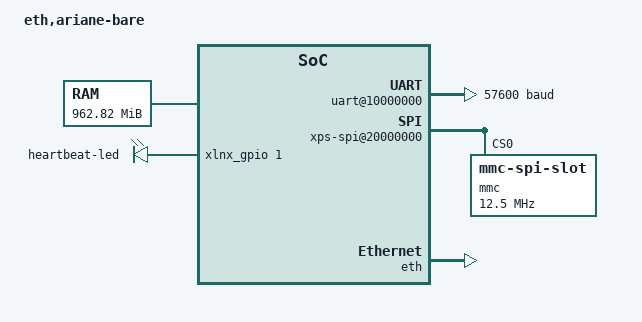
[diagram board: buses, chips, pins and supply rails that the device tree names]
/dts-v1/;

/ {
  #address-cells = <2>;
  #size-cells = <2>;
  compatible = "eth,ariane-bare-dev";
  model = "eth,ariane-bare";
  chosen {
    stdout-path = "/soc/uart@10000000:57600";
    bootargs = "earlycon console=ttyS0,57600 rdinit=/init sublet.dom_binfmt=1";
  };
  cpus {
    #address-cells = <1>;
    #size-cells = <0>;
    timebase-frequency = <12500000>;
    CPU0: cpu@0 {
      clock-frequency = <25000000 >;
      device_type = "cpu";
      reg = <0>;
      status = "okay";
      compatible = "eth, ariane", "riscv";
      riscv,isa = "rv64imafdc";
      mmu-type = "riscv,sv39";
      tlb-split;
      // HLIC - hart local interrupt controller
      CPU0_intc: interrupt-controller {
        #interrupt-cells = <1>;
        interrupt-controller;
        compatible = "riscv,cpu-intc";
      };
    };
  };
  memory@80000000 {
    device_type = "memory";
    /* Usable DRAM must stop BELOW the RTL's shadow-tag region, or Linux hands out tag memory
       as ordinary RAM and dies in early init (observed 2026-08-05: boot stalls just after
       "riscv-intc: 64 local interrupts mapped", reproducibly, on both boots).
       The top comes from core/include/ariane_pkg.sv MEMORY_TOP == CAP_TAG_MEM_BASE:
         7aac52f93  (1021-node)  CAP_TAG_MEM_BASE = 0xBC3C_0000  -> size 0x3C3C0000
         458982093  (65536-node) CAP_TAG_MEM_BASE = 0xBC2D_2D2D  -> size 0x3C2D2000
       0x3C2D2000 is the exact 0x3C2D2D2D rounded DOWN to a 4 KiB page. The tag region that
       remains (0x3C2D2D3 bytes, up to CAP_REVNODE_MEM_BASE = 0xBFF0_0000) still covers
       size/16 = 0x3C2D200, as the hardware requires (tag_addr = CAP_TAG_MEM_BASE + paddr>>4).
       RE-DERIVE THIS FROM THE RTL AFTER ANY RE-FLASH -- the pool size moves both constants,
       and calculate_memory.py prints the pair to paste. */
    reg = <0x0 0x80000000 0x0 0x3c2d2000>;
  };

  /* CMA, so a capability region can exceed the buddy allocator's largest block (MAX_ORDER 10 x
     4 KiB = 4 MiB). Proven on QEMU 2026-09-11: 8 MiB fails to CREATE without an area and succeeds
     with one, and a 130 MiB region maps and round-trips its first and last byte.
     THREE PROPERTIES HERE ARE LOAD-BEARING:
       linux,cma-default  -- modcapstone registers its device with platform_device_register_simple
                             and no DT node, so dev->cma_area is never set and dma_alloc_contiguous
                             falls through to dma_contiguous_default_area. ONLY a node carrying this
                             property sets that. Without it the area exists and nothing can reach it.
       reusable           -- required; kernel/dma/contiguous.c rejects the node without it, and
                             it is what lets movable pages use the area while no region holds it.
       no `no-map`        -- its presence is rejected outright.
     THE AREA SITS INSIDE memory@80000000 AND DOES NOT EXTEND IT. There are only 3373 bytes of slack
     between that node's top and the RTL's CAP_TAG_MEM_BASE (0xBC2D2D2D); growing the memory node is
     what handed Linux tag memory as RAM in Aug 2026 and cost two boots.
       base 0xAC000000, size 0x10000000 (256 MiB), ending at 0xBC000000 -- 4 MiB aligned, which
       CMA_MIN_ALIGNMENT (PAGE_SIZE * pageblock_nr_pages) requires, and 2.8 MiB clear of the top. */
  reserved-memory {
    #address-cells = <2>;
    #size-cells = <2>;
    ranges;
    capstone_cma: linux,cma@ac000000 {
      compatible = "shared-dma-pool";
      reusable;
      linux,cma-default;
      reg = <0x0 0xac000000 0x0 0x10000000>;
    };
  };

  leds {
    compatible = "gpio-leds";
    heartbeat-led {
      gpios = <&xlnx_gpio 1 0>;
      linux,default-trigger = "heartbeat";
      retain-state-suspended;
    };
  };
  /* B5b-2 (capstone-ariane 904cd9c6b): the Sublet format with the trap route, as capstone-qemu
     hw/riscv/virt.c emits it. id-bits 63; exact-bounds 0, because the Sublet bitstream rounds an
     inexact CDERIVE's base down. */
  capstone-unpinned {
    compatible = "capstone,unpinned-v1";
    id-bits = <63>;
    exact-bounds = <0>;
    page-size = <4096>;
    granule-size = <16>;
  };
  L26: soc {
    #address-cells = <2>;
    #size-cells = <2>;
    compatible = "eth,ariane-bare-soc", "simple-bus";
    ranges;
    clint@2000000 {
      compatible = "riscv,clint0";
      interrupts-extended = <&CPU0_intc 3 &CPU0_intc 7>;
      reg = <0x0 0x2000000 0x0 0xc0000>;
      reg-names = "control";
    };
    PLIC0: interrupt-controller@c000000 {
      #address-cells = <0>;
      #interrupt-cells = <1>;
      compatible = "riscv,plic0";
      interrupt-controller;
      interrupts-extended = <&CPU0_intc 11 &CPU0_intc 9>;
      reg = <0x0 0xc000000 0x0 0x4000000>;
      riscv,max-priority = <7>;
      riscv,ndev = <30>;
    };
    // Specifying the interrupt controller in the devicetree is not necessary.
    // Furthermore, the IRQ 65535 will cause a `hwirq 0xffff is too large` during
    // Linux boot (occured with mainline linux 5.14.0).
    // debug-controller@0 {
    //   compatible = "riscv,debug-013";
    //   interrupts-extended = <&CPU0_intc 65535>;
    //   reg = <0x0 0x0 0x0 0x1000>;
    //   reg-names = "control";
    // };
    uart@10000000 {
      compatible = "ns16550a";
      reg = <0x0 0x10000000 0x0 0x1000>;
      clock-frequency = <25000000 >;
      current-speed = <57600>;
      interrupt-parent = <&PLIC0>;
      interrupts = <1>;
      reg-shift = <2>; // regs are spaced on 32 bit boundary
      reg-io-width = <4>; // only 32-bit access are supported
    };
    timer@18000000 {
      compatible = "pulp,apb_timer";
      interrupts = <0x00000004 0x00000005 0x00000006 0x00000007>;
      reg = <0x00000000 0x18000000 0x00000000 0x00001000>;
      interrupt-parent = <&PLIC0>;
      reg-names = "control";
    };
    xps-spi@20000000 {
      compatible = "xlnx,xps-spi-2.00.b", "xlnx,xps-spi-2.00.a";
      #address-cells = <1>;
      #size-cells = <0>;
      interrupt-parent = <&PLIC0>;
      interrupts = < 2 2 >;
      reg = < 0x0 0x20000000 0x0 0x1000 >;
      xlnx,family = "kintex7";
      xlnx,fifo-exist = <0x1>;
      xlnx,num-ss-bits = <0x1>;
      xlnx,num-transfer-bits = <0x8>;
      xlnx,sck-ratio = <0x4>;

      mmc@0 {
        compatible = "mmc-spi-slot";
        reg = <0>;
        spi-max-frequency = <12500000>;
        voltage-ranges = <3300 3300>;
        disable-wp;
      };

      // mmc-slot@0 {
      //   compatible = "fsl,mpc8323rdb-mmc-slot", "mmc-spi-slot";
      //   reg = <0>;  //Chip select 0
      //   spi-max-frequency = <12500000>;
      //   voltage-ranges = <3300 3300>;
      //   //interrupts = < 2 2 >;
      //   //interrupt-parent = <&PLIC0>;
      // };
    };
    eth: lowrisc-eth@30000000 {
      compatible = "lowrisc-eth";
      device_type = "network";
      interrupt-parent = <&PLIC0>;
      interrupts = <3 0>;
      local-mac-address = [00 18 3e 02 e3 7f]; // This needs to change if more than one GenesysII on a VLAN
      reg = <0x0 0x30000000 0x0 0x8000>;
    };
    xlnx_gpio: gpio@40000000 {
      #gpio-cells = <2>;
      compatible = "xlnx,xps-gpio-1.00.a";
      gpio-controller ;
      reg = <0x0 0x40000000 0x0 0x10000 >;
      xlnx,all-inputs = <0x0>;
      xlnx,all-inputs-2 = <0x0>;
      xlnx,dout-default = <0x0>;
      xlnx,dout-default-2 = <0x0>;
      xlnx,gpio-width = <0x8>;
      xlnx,gpio2-width = <0x8>;
      xlnx,interrupt-present = <0x0>;
      xlnx,is-dual = <0x1>;
      xlnx,tri-default = <0xffffffff>;
      xlnx,tri-default-2 = <0xffffffff>;
    };
  };
};
